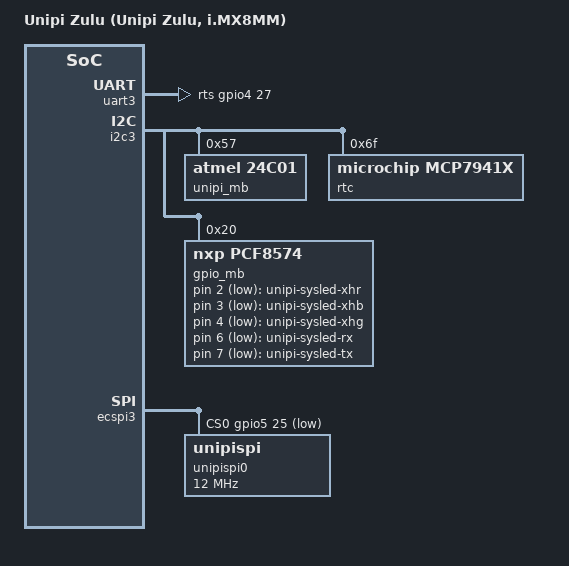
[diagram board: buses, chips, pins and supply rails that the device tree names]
// SPDX-License-Identifier: (GPL-3.0+ OR MIT)
/*
 * Copyright 2020 Faster CZ
 * Copyright 2019 NXP
 */

/dts-v1/;

#include <dt-bindings/usb/pd.h>
#include "unipi-zulu.dtsi"

/ {
	model = "Unipi Zulu (Unipi Zulu, i.MX8MM)";

	unipi_id: unipi-id {
		compatible = "unipi,unipi-id";
		nvmem = <&unipi_mb>;
		nvmem-names = "plcid0";
		id-channel = <&i2c3>;
	};

	mbleds {
		compatible = "gpio-leds";
		user-led@1 {
			label = "unipi-sysled-xhr";
			gpios = <&gpio_mb 2 GPIO_ACTIVE_LOW>;
			default-state = "off";
		};
		user-led@2 {
			label = "unipi-sysled-xhb";
			gpios = <&gpio_mb 3 GPIO_ACTIVE_LOW>;
			#default-state = "off";
			default-state = "on";
			linux,default-trigger = "none";
		};
		user-led@3 {
			label = "unipi-sysled-xhg";
			gpios = <&gpio_mb 4 GPIO_ACTIVE_LOW>;
			default-state = "off";
		};
		user-led@4 {
			label = "unipi-sysled-rx";
			gpios = <&gpio_mb 6 GPIO_ACTIVE_LOW>;
			default-state = "off";
		};
		user-led@5 {
			label = "unipi-sysled-tx";
			gpios = <&gpio_mb 7 GPIO_ACTIVE_LOW>;
			default-state = "off";
		};
	};
};

&uart3 { /* console */
	pinctrl-names = "default";
	pinctrl-0 = <&pinctrl_uart3>, <&pinctrl_uart3_ctrl>;
	linux,rs485-enabled-at-boot-time;
	rts-gpios = <&gpio4 27 GPIO_ACTIVE_HIGH>;
	status = "okay";
};

&i2c3 {
	status = "okay";
	unipi_mb:24c01@57 {
		compatible = "atmel,24c01";
		reg = <0x57>;
		status = "okay";
	};
	rtc@6f {
		compatible = "microchip,mcp7941x";
		reg = <0x6f>;
	};
	gpio_mb: pcf8574@20 {
		compatible = "nxp,pcf8574";
		gpio-controller;
		#gpio-cells = <2>;
		reg = <0x20>;
	};
};

&ecspi3 {
	fsl,spi-num-chipselects = <0>;
	pinctrl-names = "default";
	pinctrl-0 = <&pinctrl_ecspi3>, <&pinctrl_ecspi3_cs>;
	cs-gpios = <&gpio5 25 1>;
	status = "okay";

	unipispi0: unipispi@0 {
		compatible = "unipispi";
		reg = <0>;
		status = "okay";
		spi-max-frequency = <12000000>;
		neuron-board-index = <0>;
		modbus-address = <1>;
		neuron-probe-always-succeeds = <0>;
		#address-cells = <1>;
		#size-cells = <0>;
		iogroup1 {
			reg = <1>;
			pinctrl-names = "default";
			compatible = "unipi,unipi-mfd", "iogroup";
			fw_variant = <0x0010>, <0x0020>, <0x0030>, <0x0110>;
			fw_name = "B-1000-1", "B-1000-2", "B-1000-3", "E-8Di8Ro-1";
			board_name = "B-1000-1", "E-8Di8Ro-1";
			sys_board_name = "B_1000/E_8Di8Ro";
		};
	};
};

&iomuxc {
	pinctrl_ecspi3_cs: ecspi3cs {
		fsl,pins = <MX8MM_IOMUXC_UART2_TXD_GPIO5_IO25  0x16>;
	};
};
